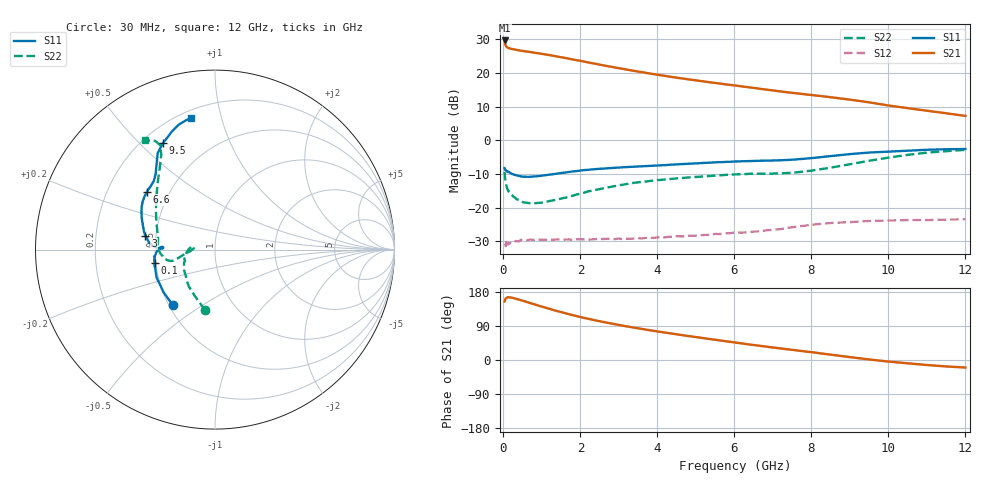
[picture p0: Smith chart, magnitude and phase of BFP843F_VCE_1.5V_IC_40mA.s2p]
! Infineon Technologies  Discrete & RF Semiconductors
! BFP843F
! VCE =  1.5 V,  IC =  40 mA
! Common Emitter S-Parameters:  Aug 2013
# GHz  S  MA  R  50
!  f  S11  S21  S12  S22
! GHz  MAG  ANG  MAG  ANG  MAG  ANG  MAG  ANG
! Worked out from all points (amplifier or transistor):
!   103 points, 30 MHz to 12 GHz, reference 50 ohm
!   highest |S21| = 29.7 dB at 30 MHz (marker M1)
!   |S21| within 3 dB of that: start of sweep to 436.6 MHz
!   unconditionally stable (mu >= 1): 102.5 MHz to end of sweep
!   at 400 MHz: K = 1.04, MAG = 27.2 dB, |S12| = -30.0 dB
!   at 3.7 GHz: K = 1.28, MAG = 21.3 dB, |S12| = -28.9 dB
!   at 12 GHz: K = 1.15, MAG = 13.0 dB, |S12| = -23.4 dB
!   S11 on the Smith chart (normalised r, x): 30 MHz: 0.52, -0.38; 100 MHz: 0.49, -0.08; 3 GHz: 0.44, +0.08; 6.6 GHz: 0.38, +0.32; 9.5 GHz: 0.28, +0.59; 12 GHz: 0.25, +0.80
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0.03  0.3878 -127.6  30.41 154.6  0.0277 21.0  0.3407 -99.3
0.04  0.3722 -140.6  27.73 157.0  0.0281 21.2  0.2818 -113.6
0.05  0.3626 -148.2  26.17 160.5  0.0279 8.3  0.2525 -125.0
0.07  0.3544 -158.5  24.81 163.3  0.0312 17.2  0.2184 -138.2
0.1  0.3429 -167.8  23.95 165.0  0.0307 11.4  0.1913 -154.5
0.13  0.3385 -172.0  23.52 165.6  0.0302 11.4  0.1786 -163.4
0.2  0.3225 -178.9  22.84 164.8  0.0312 9.6  0.1582 -175.1
0.9  0.2941 178.7  19.64 143.8  0.0338 6.1  0.1179 175.8
1.2  0.3104 179.1  18.42 134.9  0.0336 6.6  0.1262 179.8
1.6  0.3332 177.6  16.75 123.6  0.0337 8.1  0.1407 -175.5
2.1  0.3622 174.7  14.75 111.0  0.0339 9.2  0.1677 -172.3
2.5  0.379 172.0  13.31 102.2  0.0344 10.8  0.1891 -169.4
3  0.3948 168.9  11.78 92.5  0.035 12.8  0.2156 -166.6
3.5  0.41 165.3  10.51 83.6  0.0353 15.8  0.2381 -165.4
4.1  0.4271 160.7  9.239 73.9  0.0365 18.4  0.2598 -166.2
5  0.4558 153.9  7.779 60.5  0.0385 22.7  0.2865 -170.6
6.1  0.4867 145.0  6.436 45.0  0.0429 25.6  0.3135 180.0
6.6  0.4968 139.8  5.902 38.2  0.0445 27.1  0.3215 174.9
8.5  0.5847 123.7  4.373 14.1  0.0594 26.3  0.3936 146.8
9.5  0.6598 116.2  3.668 1.4  0.0637 21.9  0.498 129.7
10.5  0.7024 109.8  3.011 -8.7  0.0656 18.6  0.6093 119.4
12  0.7441 100.3  2.306 -19.9  0.0675 18.4  0.723 122.5
